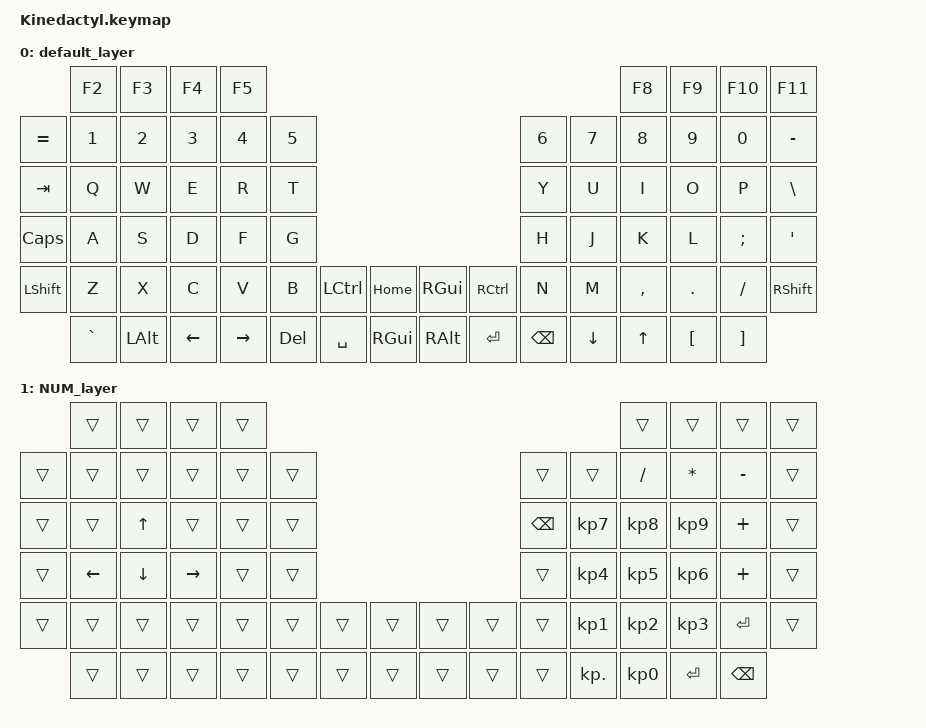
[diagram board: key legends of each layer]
#include <behaviors.dtsi>
#include <dt-bindings/zmk/keys.h>

#define DEFAULT 0
#define NUM     1

/ {
    keymap {
        compatible = "zmk,keymap";

        default_layer {
            bindings = <
              &kp F2    &kp F3          &kp F4     &kp F5                                                                                    &kp F8            &kp F9            &kp F10     &kp F11
&kp EQUAL     &kp N1    &kp N2          &kp N3     &kp N4   &kp N5                                                   &kp N6    &kp N7        &kp N8            &kp N9             &kp N0   &kp MINUS
  &kp TAB      &kp Q     &kp W           &kp E      &kp R    &kp T                                                    &kp Y     &kp U         &kp I             &kp O              &kp P    &kp BSLH
 &kp CAPS      &kp A     &kp S           &kp D      &kp F    &kp G                                                    &kp H     &kp J         &kp K             &kp L           &kp SEMI     &kp SQT
&kp LSHFT      &kp Z     &kp X           &kp C      &kp V    &kp B  &kp LCTRL  &kp HOME  &kp RGUI  &kp RCTRL          &kp N     &kp M     &kp COMMA           &kp DOT           &kp FSLH  &kp RSHIFT
           &kp GRAVE  &kp LALT  &kp LEFT_ARROW  &kp RIGHT  &kp DEL  &kp SPACE  &kp RGUI  &kp RALT  &kp ENTER  &kp BACKSPACE  &kp DOWN  &kp UP_ARROW  &kp LEFT_BRACKET  &kp RIGHT_BRACKET
            >;
        };

        NUM_layer {
            bindings = <
          &trans    &trans     &trans  &trans                                                                   &trans        &trans     &trans  &trans
&trans    &trans    &trans     &trans  &trans  &trans                                    &trans      &trans  &kp SLASH  &kp ASTERISK  &kp MINUS  &trans
&trans    &trans    &kp UP     &trans  &trans  &trans                                  &kp BSPC   &kp KP_N7  &kp KP_N8     &kp KP_N9   &kp PLUS  &trans
&trans  &kp LEFT  &kp DOWN  &kp RIGHT  &trans  &trans                                    &trans   &kp KP_N4  &kp KP_N5     &kp KP_N6   &kp PLUS  &trans
&trans    &trans    &trans     &trans  &trans  &trans  &trans  &trans  &trans  &trans    &trans   &kp KP_N1  &kp KP_N2     &kp KP_N3    &kp RET  &trans
          &trans    &trans     &trans  &trans  &trans  &trans  &trans  &trans  &trans    &trans  &kp KP_DOT  &kp KP_N0       &kp RET   &kp BSPC
            >;
        };
    };
};
